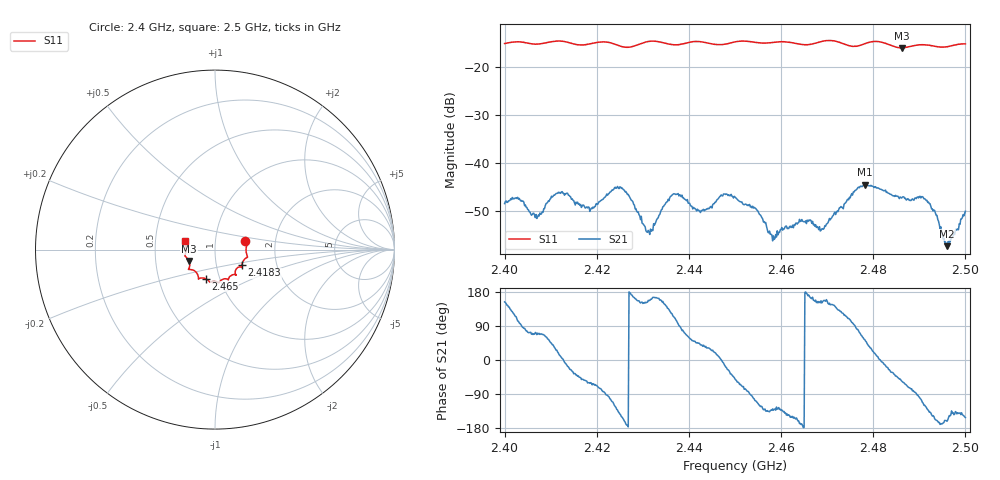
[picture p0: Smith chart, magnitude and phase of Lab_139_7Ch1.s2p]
# Hz S RI R 50
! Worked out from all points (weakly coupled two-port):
!   601 points, 2.4 GHz to 2.5 GHz, reference 50 ohm
!   highest |S21| = -44.59 dB at 2.4782 GHz (marker M1); lowest = -57.4 dB at 2.496 GHz (marker M2)
!   lowest |S11| = -16.0 dB at 2.4862 GHz (marker M3), VSWR 1.38, Z = 37.1 - j4.8 ohm
!   |S11| at or under -10 dB: start of sweep to end of sweep
!   S12 and S22 are empty: the file has one direction only
!   S11 on the Smith chart (normalised r, x): 2.4 GHz: 1.40, +0.13; 2.4183 GHz: 1.33, -0.24; 2.465 GHz: 0.86, -0.29; 2.5 GHz: 0.71, +0.07
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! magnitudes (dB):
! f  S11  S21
! 2.4 GHz  -15.1  -48.5
! 2.407 GHz  -15.2  -51.6
! 2.412 GHz  -14.6  -46.2
! 2.4167 GHz  -15.4  -49.3
! 2.4183 GHz  -15.2  -49.3
! 2.425 GHz  -15.6  -45.1
! 2.431 GHz  -14.7  -54.5
! 2.4333 GHz  -14.7  -51.5
! 2.4368 GHz  -15.4  -46.5
! 2.4422 GHz  -14.7  -49.9
! 2.45 GHz  -14.8  -47.2
! 2.4547 GHz  -14.9  -49.8
! 2.4582 GHz  -14.9  -56.3
! 2.465 GHz  -15.4  -52.3
! 2.4667 GHz  -15.2  -52.6
! 2.469 GHz  -14.6  -53.8
! 2.4782 GHz  -15.2  -44.6
! 2.4833 GHz  -15.3  -46.4
! 2.4862 GHz  -16.0  -47.4
! 2.4918 GHz  -15.4  -48.3
! 2.496 GHz  -15.8  -57.4
! 2.5 GHz  -15.2  -50.1
